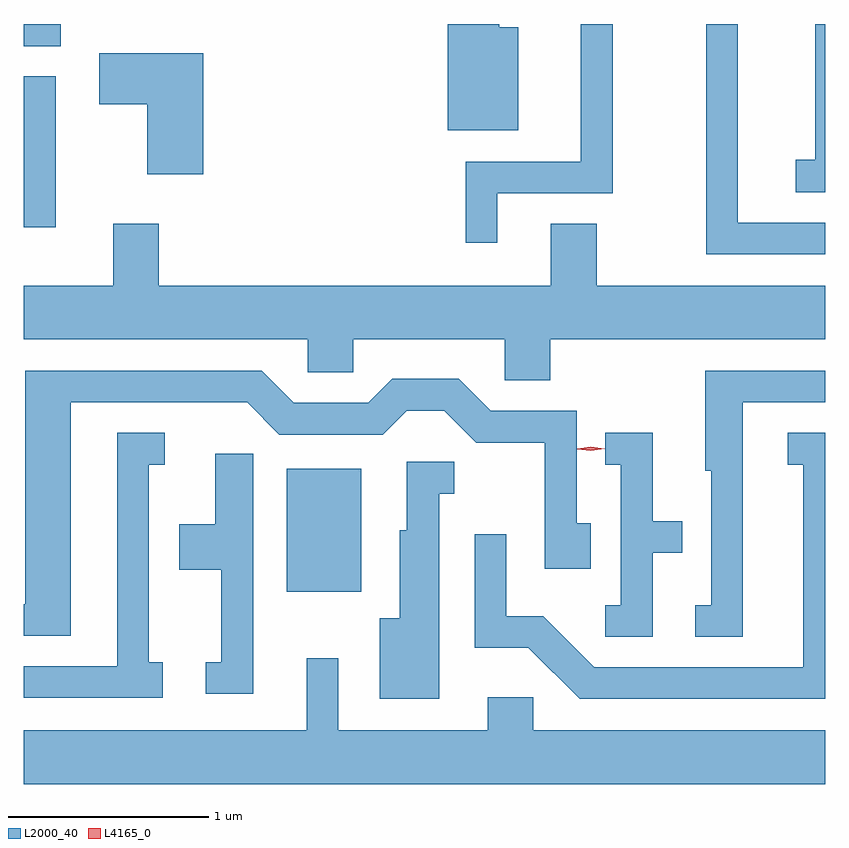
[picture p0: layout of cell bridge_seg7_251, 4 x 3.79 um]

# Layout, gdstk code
import gdstk
lib = gdstk.Library(unit=1e-6, precision=1e-09)
def R(c, l, rs):  # rectangles x0, y0, x1, y1
    for r in rs: c.add(gdstk.rectangle(r[:2], r[2:], *l))
def P(c, l, *ps):  # polygons
    for p in ps: c.add(gdstk.Polygon(p, *l))
L2000_40 = (2000, 40)
L4165_0 = (4165, 0)

bridge_seg7_251 = lib.new_cell('bridge_seg7_251')
R(bridge_seg7_251, L2000_40, [(1819.891,1708.616,1820.264,1709.229), (1818.58,1710.436,1818.739,1711.189), (1818.58,1711.341,1818.764,1711.451)])
P(bridge_seg7_251, L2000_40, [(1822.58,1710.459),(1822.144,1710.459),(1822.144,1711.451),(1821.986,1711.451),(1821.986,1710.301),(1822.58,1710.301)],
  [(1820.944,1710.606),(1821.519,1710.606),(1821.519,1711.451),(1821.361,1711.451),(1821.361,1710.764),(1820.786,1710.764),(1820.786,1710.358),(1820.944,1710.358)],
  [(1822.58,1711.451),(1822.531,1711.451),(1822.531,1710.774),(1822.433,1710.774),(1822.433,1710.611),(1822.58,1710.611)],
  [(1821.049,1711.434),(1820.954,1711.434),(1820.954,1711.451),(1820.696,1711.451),(1820.696,1710.921),(1821.049,1710.921)],
  [(1819.474,1711.304),(1818.956,1711.304),(1818.956,1711.051),(1819.196,1711.051),(1819.196,1710.701),(1819.474,1710.701)],
  [(1821.209,1709.876),(1822.58,1709.876),(1822.58,1710.144),(1821.439,1710.144),(1821.439,1710.454),(1821.211,1710.454),(1821.211,1710.144),(1819.254,1710.144),(1819.254,1710.454),(1819.026,1710.454),(1819.026,1710.144),(1818.58,1710.144),(1818.58,1709.876),(1819.996,1709.876),(1819.996,1709.711),(1820.224,1709.711),(1820.224,1709.876),(1820.981,1709.876),(1820.981,1709.671),(1821.209,1709.671)],
  [(1822.169,1709.561),(1822.58,1709.561),(1822.58,1709.719),(1821.981,1709.719),(1821.981,1709.221),(1822.011,1709.221),(1822.011,1708.549),(1821.933,1708.549),(1821.933,1708.391),(1822.169,1708.391)],
  [(1818.814,1709.561),(1819.694,1709.561),(1819.854,1709.401),(1820.372,1709.401),(1820.492,1709.521),(1820.679,1709.521),(1820.839,1709.361),(1821.181,1709.361),(1821.181,1708.731),(1821.409,1708.731),(1821.409,1708.959),(1821.339,1708.959),(1821.339,1709.519),(1820.912,1709.519),(1820.752,1709.679),(1820.419,1709.679),(1820.299,1709.559),(1819.927,1709.559),(1819.767,1709.719),(1818.586,1709.719),(1818.586,1708.554),(1818.58,1708.554),(1818.58,1708.396),(1818.814,1708.396)],
  [(1819.274,1708.264),(1819.204,1708.264),(1819.204,1709.251),(1819.283,1709.251),(1819.283,1709.409),(1819.046,1709.409),(1819.046,1708.244),(1818.58,1708.244),(1818.58,1708.086),(1819.274,1708.086)],
  [(1821.719,1708.811),(1821.868,1708.811),(1821.868,1708.969),(1821.719,1708.969),(1821.719,1709.409),(1821.483,1709.409),(1821.483,1709.251),(1821.561,1709.251),(1821.561,1708.549),(1821.483,1708.549),(1821.483,1708.391),(1821.719,1708.391)],
  [(1822.58,1709.409),(1822.393,1709.409),(1822.393,1709.251),(1822.471,1709.251),(1822.471,1708.239),(1821.427,1708.239),(1821.172,1708.494),(1820.989,1708.494),(1820.989,1708.903),(1820.831,1708.903),(1820.831,1708.336),(1821.099,1708.336),(1821.354,1708.081),(1822.58,1708.081)],
  [(1819.724,1709.304),(1819.536,1709.304),(1819.536,1708.954),(1819.356,1708.954),(1819.356,1708.726),(1819.566,1708.726),(1819.566,1708.264),(1819.488,1708.264),(1819.488,1708.106),(1819.724,1708.106)],
  [(1820.654,1709.106),(1820.728,1709.106),(1820.728,1709.264),(1820.491,1709.264),(1820.491,1708.924),(1820.456,1708.924),(1820.456,1708.484),(1820.356,1708.484),(1820.356,1708.081),(1820.654,1708.081)],
  [(1822.58,1707.924),(1821.124,1707.924),(1821.124,1708.089),(1820.896,1708.089),(1820.896,1707.924),(1820.149,1707.924),(1820.149,1708.283),(1819.991,1708.283),(1819.991,1707.924),(1818.58,1707.924),(1818.58,1707.656),(1822.58,1707.656)])
P(bridge_seg7_251, L4165_0, [(1821.411,1709.319),(1821.345,1709.328),(1821.345,1709.329),(1821.345,1709.329),(1821.411,1709.339),(1821.477,1709.33),(1821.478,1709.329),(1821.477,1709.329)],
  [(1821.411,1709.319),(1821.343,1709.328),(1821.342,1709.329),(1821.343,1709.329),(1821.411,1709.339),(1821.48,1709.33),(1821.481,1709.329),(1821.48,1709.329)])

lib.write_gds('bridge_seg7_251.gds')
